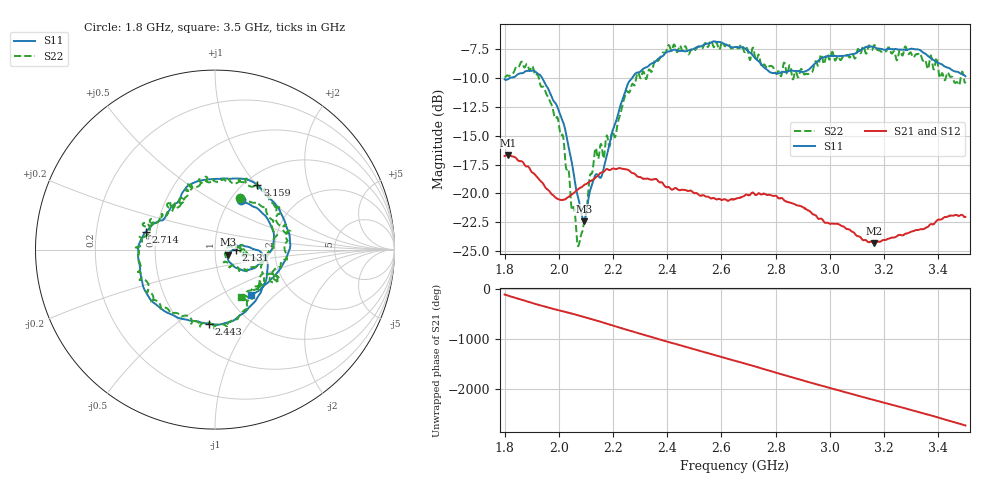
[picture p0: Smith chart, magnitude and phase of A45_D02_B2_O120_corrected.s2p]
! Created with skrf 1.9.0 (http://scikit-rf.org).
# Hz S RI R 50.0
!freq ReS11 ImS11 ReS21 ImS21 ReS12 ImS12 ReS22 ImS22
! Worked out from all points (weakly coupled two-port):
!   1601 points, 1.8 GHz to 3.5 GHz, reference 50 ohm
!   highest |S21| = -16.67 dB at 1.812 GHz (marker M1); lowest = -24.3 dB at 3.162 GHz (marker M2)
!   lowest |S11| = -22.4 dB at 2.092 GHz (marker M3), VSWR 1.16, Z = 57.5 - j3.18 ohm
!   |S11| at or under -10 dB: start of sweep to 1.821 GHz; 1.938 GHz to 2.271 GHz (332.5 MHz wide, 15.8 % of centre)
!   |S22| runs from -24.6 to -6.8 dB; largest |S21 - S12| = 0.0025
!   S11 on the Smith chart (normalised r, x): 1.8 GHz: 1.12, +0.68; 2.131 GHz: 1.27, -0.00; 2.443 GHz: 0.67, -0.67; 2.714 GHz: 0.44, +0.10; 3.159 GHz: 1.14, +1.01; 3.5 GHz: 1.27, -0.72
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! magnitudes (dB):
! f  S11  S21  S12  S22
! 1.8 GHz  -10.1  -16.8  -16.8  -10.0
! 1.812 GHz  -10.1  -16.7  -16.7  -9.8
! 1.864 GHz  -9.6  -17.2  -17.3  -8.6
! 1.951 GHz  -10.6  -19.5  -19.5  -11.2
! 2.019 GHz  -14.0  -20.5  -20.6  -15.7
! 2.07 GHz  -20.2  -19.7  -19.7  -24.5
! 2.084 GHz  -21.7  -19.5  -19.4  -23.5
! 2.092 GHz  -22.4  -19.3  -19.3  -22.6
! 2.131 GHz  -18.6  -18.7  -18.7  -16.5
! 2.16 GHz  -18.4  -18.2  -18.1  -16.3
! 2.21 GHz  -13.8  -17.9  -17.8  -15.0
! 2.258 GHz  -10.4  -18.0  -18.0  -11.3
! 2.367 GHz  -8.3  -19.0  -18.9  -8.5
! 2.443 GHz  -7.7  -19.7  -19.7  -7.4
! 2.65 GHz  -7.3  -20.5  -20.5  -7.3
! 2.714 GHz  -8.0  -19.9  -19.9  -7.5
! 2.787 GHz  -9.6  -20.2  -20.2  -9.0
! 2.934 GHz  -9.0  -21.7  -21.7  -9.5
! 3.159 GHz  -7.3  -24.3  -24.2  -7.4
! 3.162 GHz  -7.3  -24.3  -24.3  -7.2
! 3.217 GHz  -7.5  -23.9  -23.9  -7.4
! 3.5 GHz  -9.9  -22.0  -22.0  -10.3
